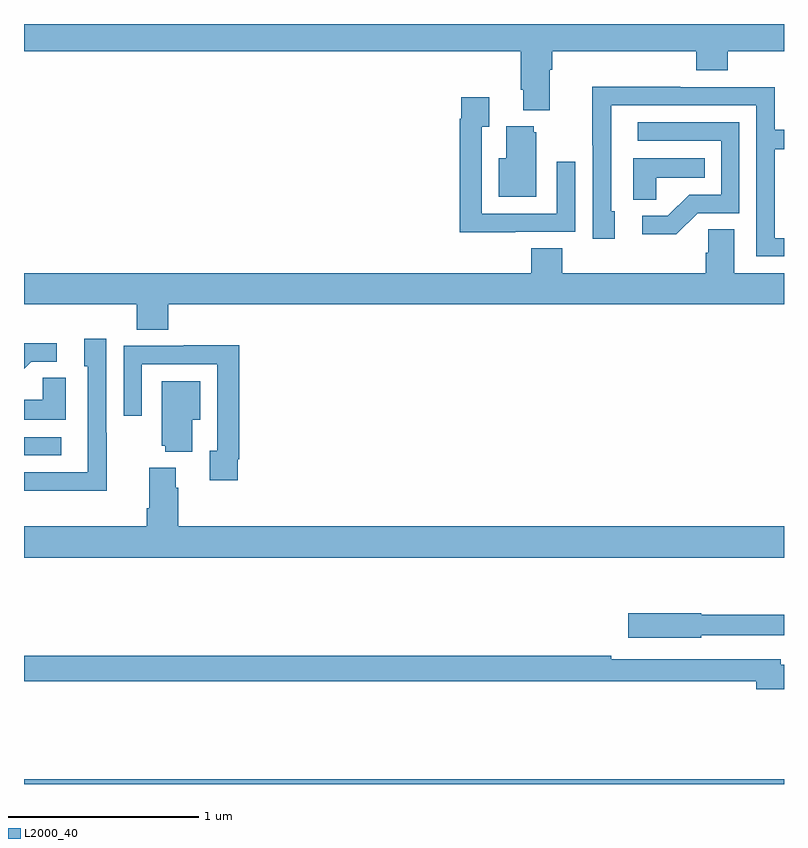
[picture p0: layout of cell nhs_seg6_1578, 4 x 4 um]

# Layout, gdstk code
import gdstk
lib = gdstk.Library(unit=1e-6, precision=1e-09)
def R(c, l, rs):  # rectangles x0, y0, x1, y1
    for r in rs: c.add(gdstk.rectangle(r[:2], r[2:], *l))
def P(c, l, *ps):  # polygons
    for p in ps: c.add(gdstk.Polygon(p, *l))
L2000_40 = (2000, 40)

nhs_seg6_1578 = lib.new_cell('nhs_seg6_1578')
R(nhs_seg6_1578, L2000_40, [(207,923.5,211,923.524), (207,925.23,207.196,925.326)])
P(nhs_seg6_1578, L2000_40, [(209.767,927.26),(209.78,927.26),(209.78,927.356),(210.539,927.356),(210.539,927.257),(210.704,927.257),(210.704,927.356),(211,927.356),(211,927.5),(207,927.5),(207,927.356),(209.615,927.356),(209.615,927.154),(209.627,927.154),(209.627,927.047),(209.767,927.047)],
  [(211,926.373),(210.951,926.373),(210.951,926.842),(211,926.842),(211,926.943),(210.951,926.943),(210.951,927.168),(210.455,927.168),(210.455,927.17),(209.992,927.17),(209.992,926.863),(209.994,926.863),(209.994,926.37),(210.109,926.37),(210.109,926.514),(210.09,926.514),(210.09,927.072),(210.855,927.072),(210.855,926.277),(211,926.277)],
  [(209.585,926.406),(209.901,926.406),(209.901,926.776),(209.805,926.776),(209.805,926.502),(209.409,926.502),(209.409,926.959),(209.449,926.959),(209.449,927.115),(209.301,927.115),(209.301,927.002),(209.293,927.002),(209.293,926.405),(209.585,926.405)],
  [(210.546,926.505),(210.765,926.505),(210.765,926.982),(210.231,926.982),(210.231,926.886),(210.669,926.886),(210.669,926.601),(210.5,926.601),(210.389,926.49),(210.255,926.49),(210.255,926.393),(210.433,926.393)],
  [(209.695,926.931),(209.684,926.931),(209.684,926.962),(209.537,926.962),(209.537,926.794),(209.498,926.794),(209.498,926.591),(209.695,926.591)],
  [(210.327,926.69),(210.584,926.69),(210.584,926.794),(210.206,926.794),(210.206,926.575),(210.327,926.575)],
  [(207.758,926.024),(211,926.024),(211,926.188),(210.739,926.188),(210.739,926.42),(210.6,926.42),(210.6,926.297),(210.587,926.297),(210.587,926.188),(209.834,926.188),(209.834,926.321),(209.669,926.321),(209.669,926.188),(207,926.188),(207,926.024),(207.593,926.024),(207.593,925.891),(207.758,925.891)],
  [(207.435,925.349),(207.432,925.349),(207.432,925.843),(207.317,925.843),(207.317,925.698),(207.336,925.698),(207.336,925.14),(207,925.14),(207,925.043),(207.435,925.043)],
  [(207.037,925.722),(207.172,925.722),(207.172,925.82),(207,925.82),(207,925.685)],
  [(208.126,925.21),(208.133,925.21),(208.133,925.808),(207.841,925.808),(207.841,925.806),(207.525,925.806),(207.525,925.437),(207.621,925.437),(207.621,925.71),(208.017,925.71),(208.017,925.254),(207.977,925.254),(207.977,925.098),(208.126,925.098)],
  [(207.22,925.637),(207.099,925.637),(207.099,925.522),(207,925.522),(207,925.418),(207.22,925.418)],
  [(207.886,925.418),(207.928,925.418),(207.928,925.621),(207.725,925.621),(207.725,925.281),(207.743,925.281),(207.743,925.25),(207.886,925.25)],
  [(211,924.856),(207.812,924.856),(207.812,925.058),(207.799,925.058),(207.799,925.165),(207.659,925.165),(207.659,924.952),(207.647,924.952),(207.647,924.856),(207,924.856),(207,924.692),(211,924.692)],
  [(210.564,924.282),(211,924.282),(211,924.391),(210.564,924.391),(210.564,924.399),(210.18,924.399),(210.18,924.269),(210.564,924.269)],
  [(211,924.127),(210.982,924.127),(210.982,924.156),(210.092,924.156),(210.092,924.176),(207,924.176),(207,924.04),(210.854,924.04),(210.854,923.998),(211,923.998)])

lib.write_gds('nhs_seg6_1578.gds')
